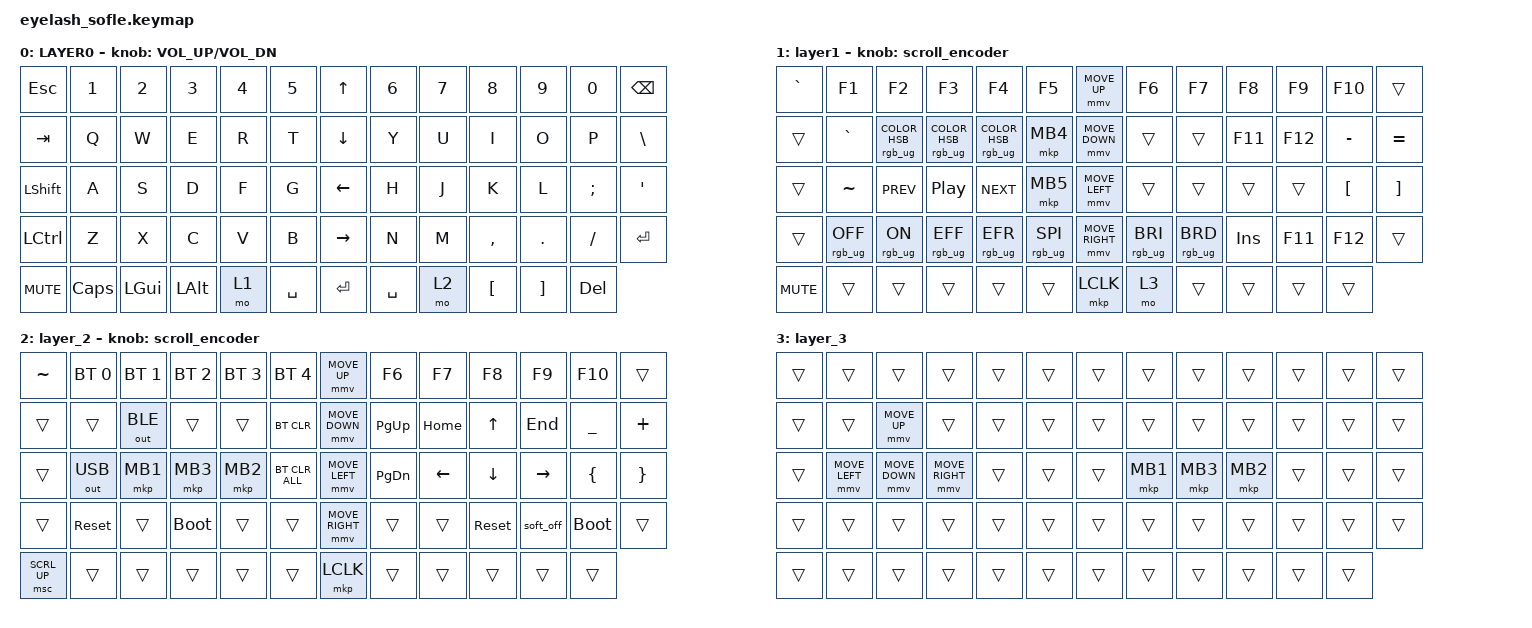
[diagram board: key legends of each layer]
#define ZMK_POINTING_DEFAULT_MOVE_VAL 1200  // 600
#define ZMK_POINTING_DEFAULT_SCRL_VAL 25   // 10

#include <input/processors.dtsi>
#include <zephyr/dt-bindings/input/input-event-codes.h>
#include <behaviors.dtsi>
#include <dt-bindings/zmk/bt.h>
#include <dt-bindings/zmk/keys.h>
#include <dt-bindings/zmk/outputs.h>
#include <dt-bindings/zmk/pointing.h>
#include <dt-bindings/zmk/rgb.h>

&mmv_input_listener {
    input-processors = <&zip_temp_layer 2 2000>;
}

&mmv_input_listener { input-processors = <&zip_xy_scaler 2 1>; };

&msc_input_listener { input-processors = <&zip_scroll_scaler 2 1>; };

&msc {
    acceleration-exponent = <1>;      // 0
    time-to-max-speed-ms = <100>;       // 300
    delay-ms = <0>;                   // 0
};

&mmv {
    time-to-max-speed-ms = <1000>;
    acceleration-exponent = <1>;
    trigger-period-ms = <16>;
};

/ {
    scroll_encoder: scroll_encoder {
        compatible = "zmk,behavior-sensor-rotate";
        #sensor-binding-cells = <0>;
        bindings = <&msc SCRL_DOWN>, <&msc SCRL_UP>;

        tap-ms = <100>;
    };

    combos {
        compatible = "zmk,combos";

        printScreen {
            bindings = <&kp PRINTSCREEN>;
            key-positions = <24 25>;
        };
    };

    behaviors {
    };

    keymap {
        compatible = "zmk,keymap";

        layer0 {
            bindings = <
&kp ESC         &kp N1    &kp N2        &kp N3        &kp N4  &kp N5       &kp UP_ARROW     &kp N6     &kp N7  &kp N8            &kp N9             &kp N0      &kp BACKSPACE
&kp TAB         &kp Q     &kp W         &kp E         &kp R   &kp T        &kp DOWN_ARROW   &kp Y      &kp U   &kp I             &kp O              &kp P       &kp BSLH
&kp LEFT_SHIFT  &kp A     &kp S         &kp D         &kp F   &kp G        &kp LEFT_ARROW   &kp H      &kp J   &kp K             &kp L              &kp SEMI    &kp APOS
&kp LCTRL       &kp Z     &kp X         &kp C         &kp V   &kp B        &kp RIGHT_ARROW  &kp N      &kp M   &kp COMMA         &kp DOT            &kp FSLH    &kp ENTER
&kp C_MUTE      &kp CLCK  &kp LEFT_GUI  &kp LEFT_ALT  &mo 1   &kp SPACE    &kp ENTER        &kp SPACE  &mo 2   &kp LEFT_BRACKET  &kp RIGHT_BRACKET  &kp DELETE
            >;

            sensor-bindings = <&inc_dec_kp C_VOLUME_UP C_VOL_DN>;
            display-name = "LAYER0";
        };

        layer_1 {
            bindings = <
&kp GRAVE   &kp F1           &kp F2                           &kp F3                             &kp F4                             &kp F5             &mmv MOVE_UP     &kp F6           &kp F7           &kp F8      &kp F9   &kp F10           &trans
&trans      &kp GRAVE        &rgb_ug RGB_COLOR_HSB(0,100,50)  &rgb_ug RGB_COLOR_HSB(110,100,50)  &rgb_ug RGB_COLOR_HSB(211,100,50)  &mkp MB4           &mmv MOVE_DOWN   &trans           &trans           &kp F11     &kp F12  &kp MINUS         &kp EQUAL
&trans      &kp TILDE        &kp C_PREV                       &kp C_PLAY_PAUSE                   &kp C_NEXT                         &mkp MB5           &mmv MOVE_LEFT   &trans           &trans           &trans      &trans   &kp LEFT_BRACKET  &kp RIGHT_BRACKET
&trans      &rgb_ug RGB_OFF  &rgb_ug RGB_ON                   &rgb_ug RGB_EFF                    &rgb_ug RGB_EFR                    &rgb_ug RGB_SPI    &mmv MOVE_RIGHT  &rgb_ug RGB_BRI  &rgb_ug RGB_BRD  &kp INSERT  &kp F11  &kp F12           &trans
&kp C_MUTE  &trans           &trans                           &trans                             &trans                             &trans             &mkp LCLK        &mo 3           &trans           &trans      &trans   &trans
            >;

            display-name = "layer1";
            sensor-bindings = <&scroll_encoder>;
        };

        layer_2 {
            bindings = <
&kp TILDE     &bt BT_SEL 0  &bt BT_SEL 1  &bt BT_SEL 2  &bt BT_SEL 3  &bt BT_SEL 4      &mmv MOVE_UP     &kp F6     &kp F7    &kp F8      &kp F9     &kp F10      &trans
&trans        &trans        &out OUT_BLE  &trans        &trans        &bt BT_CLR        &mmv MOVE_DOWN   &kp PG_UP  &kp HOME  &kp UP      &kp END    &kp UNDER    &kp PLUS
&trans        &out OUT_USB  &mkp MB1      &mkp MB3      &mkp MB2      &bt BT_CLR_ALL    &mmv MOVE_LEFT   &kp PG_DN  &kp LEFT  &kp DOWN    &kp RIGHT  &kp LBRC     &kp RBRC
&trans        &sys_reset    &trans        &bootloader   &trans        &trans            &mmv MOVE_RIGHT  &trans     &trans    &sys_reset  &soft_off  &bootloader  &trans
&msc SCRL_UP  &trans        &trans        &trans        &trans        &trans            &mkp LCLK        &trans     &trans    &trans      &trans     &trans
            >;

            sensor-bindings = <&scroll_encoder>;
        };

        layer_3 {
            bindings = <
&trans  &trans          &trans          &trans           &trans  &trans    &trans  &trans    &trans    &trans    &trans  &trans  &trans
&trans  &trans          &mmv MOVE_UP    &trans           &trans  &trans    &trans  &trans    &trans    &trans    &trans  &trans  &trans
&trans  &mmv MOVE_LEFT  &mmv MOVE_DOWN  &mmv MOVE_RIGHT  &trans  &trans    &trans  &mkp MB1  &mkp MB3  &mkp MB2  &trans  &trans  &trans
&trans  &trans          &trans          &trans           &trans  &trans    &trans  &trans    &trans    &trans    &trans  &trans  &trans
&trans  &trans          &trans          &trans           &trans  &trans    &trans  &trans    &trans    &trans    &trans  &trans
            >;
        };
    };
};
